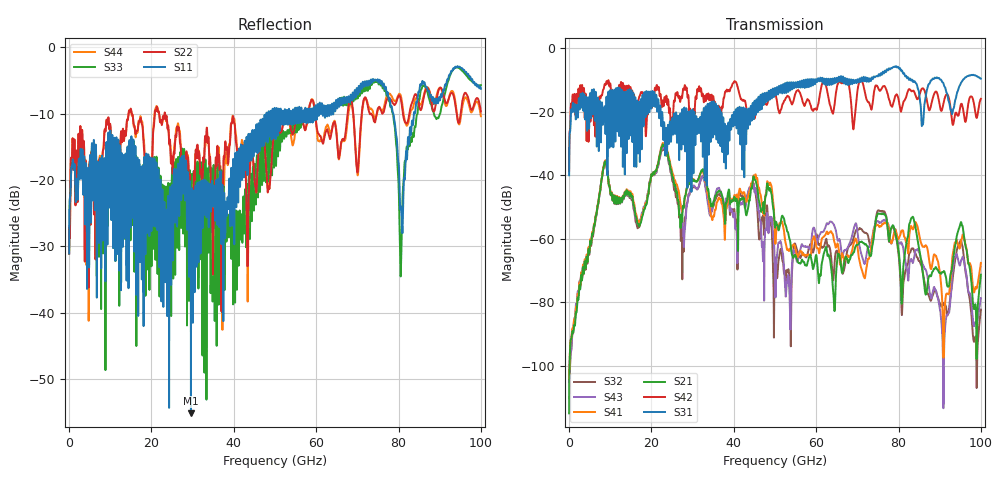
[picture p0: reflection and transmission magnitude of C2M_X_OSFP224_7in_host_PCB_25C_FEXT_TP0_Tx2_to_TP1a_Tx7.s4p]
# GHz S RI R 45
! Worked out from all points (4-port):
!   4000 points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, 25 MHz to 100 GHz, reference 45 ohm
!   strongest paths, dB at 25 MHz, 25.02 GHz, 50.02 GHz, 75.03 GHz, 100 GHz:
!     S31: -40.0, -22.0, -12.5, -8.8, -9.6
!     S42: -38.6, -21.8, -13.7, -12.6, -15.9
!     S21: -114.9, -40.1, -56.4, -52.0, -71.3
!     S41: -103.9, -38.8, -60.4, -55.6, -67.5
!     S43: -110.0, -40.1, -71.8, -54.4, -78.6
!     S32: -105.0, -41.3, -67.2, -51.1, -82.3
!   lowest |S11| = -55.2 dB at 29.6 GHz (marker M1), VSWR 1.00, Z = 45.1 - j0.087 ohm
!   |S11| at or under -10 dB: start of sweep to 47.94 GHz; 48.01 GHz to 48.42 GHz (401.8 MHz wide, 0.833 % of centre); 78.73 GHz to 83.73 GHz (5.001 GHz wide, 6.16 % of centre)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
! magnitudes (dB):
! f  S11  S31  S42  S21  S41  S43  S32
! 25 MHz  -31.1  -40.0  -38.6  -114.9  -103.9  -110.0  -105.0
! 8.675 GHz  -17.8  -18.4  -11.3  -35.8  -35.6  -35.7  -35.9
! 29.6 GHz  -55.2  -22.1  -27.2  -42.1  -41.3  -44.3  -44.7
! 53.42 GHz  -9.3  -10.9  -15.3  -59.5  -63.8  -73.9  -71.2
! 64.33 GHz  -8.5  -10.7  -19.1  -79.9  -60.5  -55.6  -70.5
! 75.38 GHz  -4.9  -8.5  -13.3  -52.1  -56.2  -55.0  -51.2
! 100 GHz  -6.2  -9.6  -15.9  -71.3  -67.5  -78.6  -82.3
